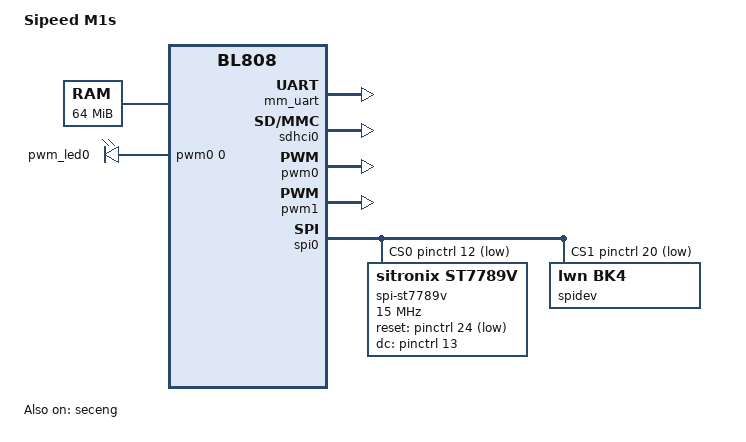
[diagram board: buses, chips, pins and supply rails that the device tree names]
// SPDX-License-Identifier: (GPL-2.0+ or MIT)
/*
 * Copyright (C) 2022 Jisheng Zhang <jszhang@kernel.org>
 */

/dts-v1/;

#include "bl808.dtsi"
#include <dt-bindings/gpio/gpio.h>
#include <dt-bindings/leds/common.h>
#include <dt-bindings/pinctrl/pinctrl-bflb.h>

/ {
	model = "Sipeed M1s";
	compatible = "sipeed,m1s", "bflb,bl808";

	aliases {
		serial0 = &mm_uart;
	};

	chosen {
		stdout-path = "serial0:2000000n8";
		bootargs = "console=ttyS0,2000000 loglevel=8 earlycon=sbi mtdparts=bflb_sflash:128K(m0-ll),128K(d0-ll),704K(sbi-uboot),64K(uboot-env),4M(kernel),8M(rootfs),3M(rootfs-data) rootfstype=squashfs root=/dev/mtdblock5 init=/sbin/init.sh";
		linux,initrd-start = <0x0 0x52000000>;
		linux,initrd-end = <0x0 0x52941784>;
	};

	memory@50000000 {
		device_type = "memory";
		reg = <0x50000000 0x04000000>;
	};
	reserved-memory {
		#address-cells = <1>;
		#size-cells = <1>;
		ranges;

		m0_psram_reserved: m0_psram@53F00000 {
			reg = <0x53F00000 0x100000>;
			status = "okay";
		};
	};

	flash@2000b000 {
		compatible = "bflb,bl808-sflash";
		reg = <0x2000b000 0x1000 0x40001000 0x1000>;
		#address-cells = <1>;
		#size-cells = <1>;
	};

	leds {
        compatible = "gpio-leds";
		status = "disabled";

        led {
            gpios = <&pinctrl 8 GPIO_ACTIVE_LOW>;
        };
    };

	pwm-leds {
		compatible = "pwm-leds";
		pinctrl-names = "default";
		pinctrl-0 = <&pwm_led_pins>;
		status = "okay";

		led-0 {
			pwms = <&pwm0 0 500000 0>;
			active-low;
			max-brightness = <255>;
			label = "pwm_led0";
		};
	};
};

&pinctrl {
	status = "okay";

	pwm_led_pins: pwm0-grp0 {
		bflb,pin-function = <BFLB_PINMUX_FUNC_PWM0>;
		bflb,pins = <0 8 &pin_cfg_default>;
	};

	mm_uart_pins: mm-uart-grp0 {
		bflb,pin-function = <BFLB_PINMUX_FUNC_MM_UART>;
		bflb,pins = <0 16 &pin_cfg_default>,
					<0 17 &pin_cfg_default>;
	};

	st7789v_spi_pins: st7789v-spi-pins {
		bflb,pin-function = <BFLB_PINMUX_FUNC_MM_SPI>;
		bflb,pins = <0 19 &pin_cfg_default>, // sck
					<0 25 &pin_cfg_default>; // mosi
	};

	spidev_pins: spidev-pins {
		bflb,pin-function = <BFLB_PINMUX_FUNC_MM_SPI>;
		bflb,pins = <0 19 &pin_cfg_default>, // sck
					<0 21 &pin_cfg_default>, // mosi
					<0 22 &pin_cfg_default>; // miso
	};
};

&seceng {
	status = "okay";
};

&mm_uart {
	status = "okay";
	pinctrl-names = "default";
	pinctrl-0 = <&mm_uart_pins>;
};

&sdhci0 {
	status = "okay";
};

&pwm0 {
	status = "okay";
};

&pwm1 {
	status = "okay";
};

&spi0 {
	status = "okay";
	num-cs = <2>;
	cs-gpios = <&pinctrl 12 GPIO_ACTIVE_LOW>,
			   <&pinctrl 20 GPIO_ACTIVE_LOW>;

	spi-st7789v@0 {
		compatible = "sitronix,st7789v";
		reg = <0>;
		status = "okay";
		pinctrl-names = "default";
		pinctrl-0 = <&st7789v_spi_pins>;

		reset-gpios = <&pinctrl 24 GPIO_ACTIVE_LOW>;
		dc-gpios = <&pinctrl 13 GPIO_ACTIVE_HIGH>;
		spi-max-frequency = <15000000>;
	};

	spidev@1 {
		compatible = "lwn,bk4";
		reg = <1>;
		status = "okay";
		pinctrl-names = "default";
		pinctrl-0 = <&spidev_pins>;
	};
};
